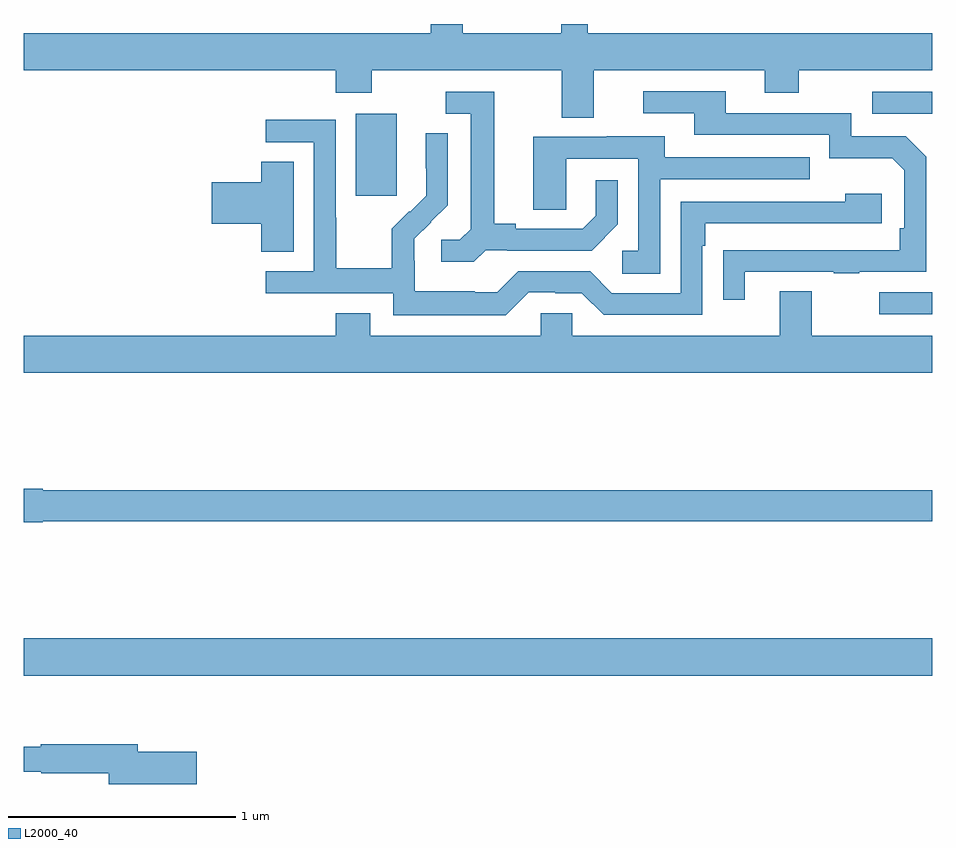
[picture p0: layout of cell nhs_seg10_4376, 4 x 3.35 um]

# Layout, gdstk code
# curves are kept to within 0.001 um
import gdstk
lib = gdstk.Library(unit=1e-6, precision=1e-09)
def R(c, l, rs):  # rectangles x0, y0, x1, y1
    for r in rs: c.add(gdstk.rectangle(r[:2], r[2:], *l))
def P(c, l, *ps):  # polygons
    for p in ps: c.add(gdstk.Polygon(p, *l))
L2000_40 = (2000, 40)

nhs_seg10_4376 = lib.new_cell('nhs_seg10_4376')
R(nhs_seg10_4376, L2000_40, [(357,1317.632,361,1317.796), (360.765,1319.223,361,1319.319), (358.463,1319.745,358.642,1320.106), (360.735,1320.105,361,1320.201)])
P(nhs_seg10_4376, L2000_40, [(359.509,1320.296),(360.263,1320.296),(360.263,1320.197),(360.411,1320.197),(360.411,1320.296),(361,1320.296),(361,1320.46),(359.483,1320.46),(359.483,1320.5),(359.367,1320.5),(359.367,1320.46),(358.933,1320.46),(358.933,1320.5),(358.793,1320.5),(358.793,1320.46),(357,1320.46),(357,1320.296),(358.373,1320.296),(358.373,1320.197),(358.533,1320.197),(358.533,1320.296),(359.369,1320.296),(359.369,1320.088),(359.509,1320.088)],
  [(360.175,1319.409),(360.565,1319.409),(360.565,1319.404),(360.677,1319.404),(360.677,1319.409),(360.972,1319.409),(360.972,1319.916),(360.882,1320.006),(360.642,1320.006),(360.642,1320.108),(360.091,1320.108),(360.091,1320.204),(359.727,1320.204),(359.727,1320.108),(359.951,1320.108),(359.951,1320.012),(360.546,1320.012),(360.546,1319.909),(360.823,1319.909),(360.876,1319.856),(360.876,1319.602),(360.856,1319.602),(360.856,1319.505),(360.079,1319.504),(360.079,1319.286),(360.175,1319.286)],
  [(359.034,1319.505),(359.128,1319.505),(359.128,1319.502),(359.5,1319.502),(359.616,1319.618),(359.616,1319.812),(359.519,1319.812),(359.519,1319.655),(359.462,1319.598),(359.167,1319.598),(359.167,1319.621),(359.071,1319.621),(359.071,1320.201),(358.857,1320.201),(358.857,1320.105),(358.967,1320.105),(358.967,1319.597),(358.92,1319.55),(358.839,1319.55),(358.839,1319.453),(358.982,1319.453)],
  [(359.223,1319.319),(359.339,1319.319),(359.339,1319.316),(359.457,1319.316),(359.553,1319.22),(359.988,1319.22),(359.988,1319.525),(360.001,1319.525),(360.001,1319.622),(360.778,1319.622),(360.778,1319.752),(360.617,1319.752),(360.617,1319.718),(359.892,1319.718),(359.892,1319.316),(359.589,1319.316),(359.493,1319.412),(359.178,1319.412),(359.085,1319.319),(358.985,1319.319),(358.985,1319.323),(358.722,1319.323),(358.722,1319.457),(358.72,1319.457),(358.72,1319.554),(358.866,1319.702),(358.866,1320.02),(358.77,1320.02),(358.77,1319.866),(358.772,1319.866),(358.772,1319.744),(358.701,1319.673),(358.698,1319.676),(358.621,1319.599),(358.621,1319.425),(358.377,1319.425),(358.377,1319.648),(358.374,1319.648),(358.374,1320.078),(358.065,1320.078),(358.065,1319.979),(358.278,1319.979),(358.278,1319.412),(358.065,1319.412),(358.065,1319.316),(358.626,1319.316),(358.626,1319.219),(359.123,1319.219)],
  [(359.802,1319.817),(360.461,1319.817),(360.461,1319.913),(359.821,1319.913),(359.821,1320.007),(359.567,1320.007),(359.567,1320.003),(359.243,1320.003),(359.243,1319.683),(359.388,1319.683),(359.388,1319.907),(359.706,1319.907),(359.706,1319.502),(359.634,1319.502),(359.634,1319.401),(359.802,1319.401)],
  [(358.189,1319.894),(358.046,1319.894),(358.046,1319.804),(357.828,1319.804),(357.828,1319.621),(358.046,1319.621),(358.046,1319.497),(358.189,1319.497)],
  [(361,1319.128),(360.469,1319.128),(360.469,1319.323),(360.329,1319.323),(360.329,1319.128),(359.415,1319.128),(359.415,1319.226),(359.277,1319.226),(359.277,1319.128),(358.525,1319.128),(358.525,1319.227),(358.373,1319.227),(358.373,1319.128),(357,1319.128),(357,1318.964),(361,1318.964)],
  [(357.084,1318.312),(361,1318.312),(361,1318.448),(357.084,1318.448),(357.084,1318.454),(357,1318.454),(357,1318.307),(357.084,1318.307)],
  [(357.763,1317.297),(357.502,1317.297),(357.502,1317.331),(357.076,1317.331),(357.076,1317.318),(357,1317.318),(357,1317.21),(357.078,1317.21),(357.078,1317.202),(357.374,1317.202),(357.374,1317.155),(357.763,1317.155)])

lib.write_gds('nhs_seg10_4376.gds')
